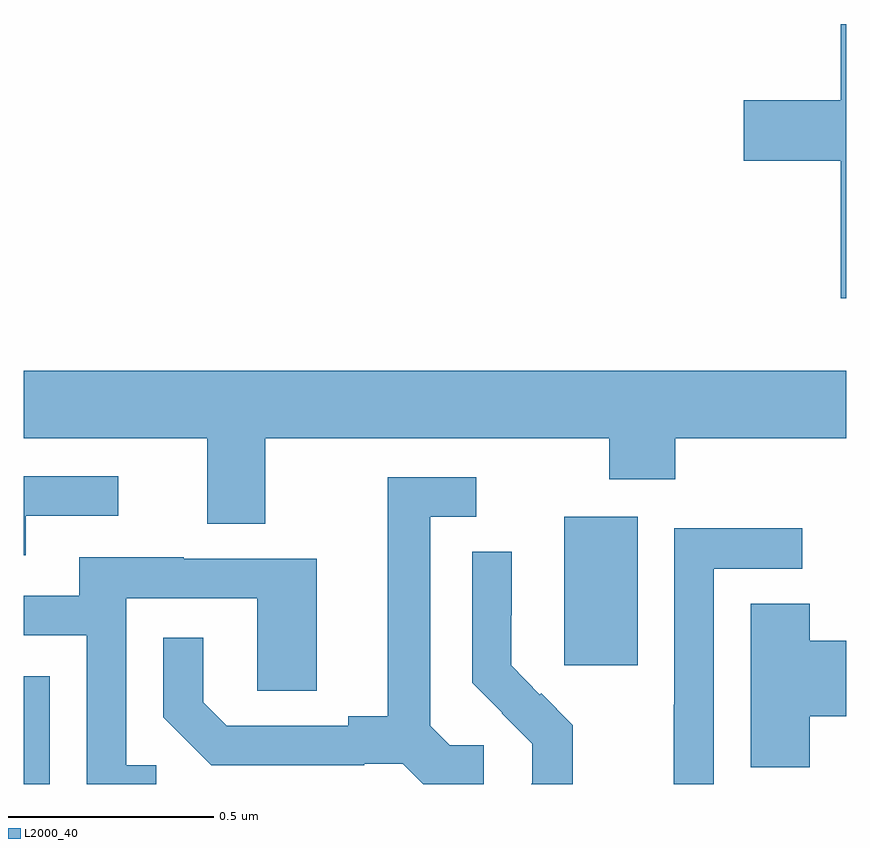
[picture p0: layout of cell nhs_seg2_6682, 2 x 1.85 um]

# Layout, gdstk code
import gdstk
lib = gdstk.Library(unit=1e-6, precision=1e-09)
def R(c, l, rs):  # rectangles x0, y0, x1, y1
    for r in rs: c.add(gdstk.rectangle(r[:2], r[2:], *l))
def P(c, l, *ps):  # polygons
    for p in ps: c.add(gdstk.Polygon(p, *l))
L2000_40 = (2000, 40)

nhs_seg2_6682 = lib.new_cell('nhs_seg2_6682')
R(nhs_seg2_6682, L2000_40, [(194,642.8,194.064,643.062), (195.314,643.089,195.493,643.45)])
P(nhs_seg2_6682, L2000_40, [(196,644.647),(195.986,644.647),(195.986,644.462),(195.75,644.462),(195.75,644.315),(195.986,644.315),(195.986,643.98),(196,643.98)],
  [(194.587,643.64),(195.424,643.64),(195.424,643.541),(195.584,643.541),(195.584,643.64),(196,643.64),(196,643.804),(194,643.804),(194,643.64),(194.447,643.64),(194.447,643.432),(194.587,643.432)],
  [(194.005,643.452),(194.23,643.452),(194.23,643.548),(194,643.548),(194,643.356),(194.005,643.356)],
  [(195.118,642.894),(195.036,642.894),(194.989,642.941),(194.989,643.449),(195.1,643.449),(195.1,643.545),(194.885,643.545),(194.885,642.965),(194.789,642.965),(194.789,642.942),(194.494,642.942),(194.437,642.999),(194.437,643.156),(194.34,643.156),(194.34,642.962),(194.456,642.846),(194.828,642.846),(194.828,642.849),(194.922,642.849),(194.971,642.8),(195.118,642.8)],
  [(195.678,643.323),(195.892,643.323),(195.892,643.422),(195.582,643.422),(195.582,642.992),(195.58,642.992),(195.58,642.8),(195.678,642.8)],
  [(195.335,642.943),(195.258,643.02),(195.255,643.017),(195.185,643.088),(195.185,643.21),(195.186,643.21),(195.186,643.364),(195.09,643.364),(195.09,643.046),(195.163,642.973),(195.162,642.972),(195.236,642.898),(195.236,642.801),(195.234,642.801),(195.234,642.8),(195.335,642.8)],
  [(194.323,642.846),(194.25,642.846),(194.25,643.251),(194.568,643.251),(194.568,643.027),(194.713,643.027),(194.713,643.347),(194.389,643.347),(194.389,643.351),(194.135,643.351),(194.135,643.257),(194,643.257),(194,643.161),(194.154,643.161),(194.154,642.8),(194.323,642.8)],
  [(195.911,642.965),(196,642.965),(196,643.148),(195.911,643.148),(195.911,643.238),(195.767,643.238),(195.767,642.841),(195.911,642.841)])

lib.write_gds('nhs_seg2_6682.gds')
